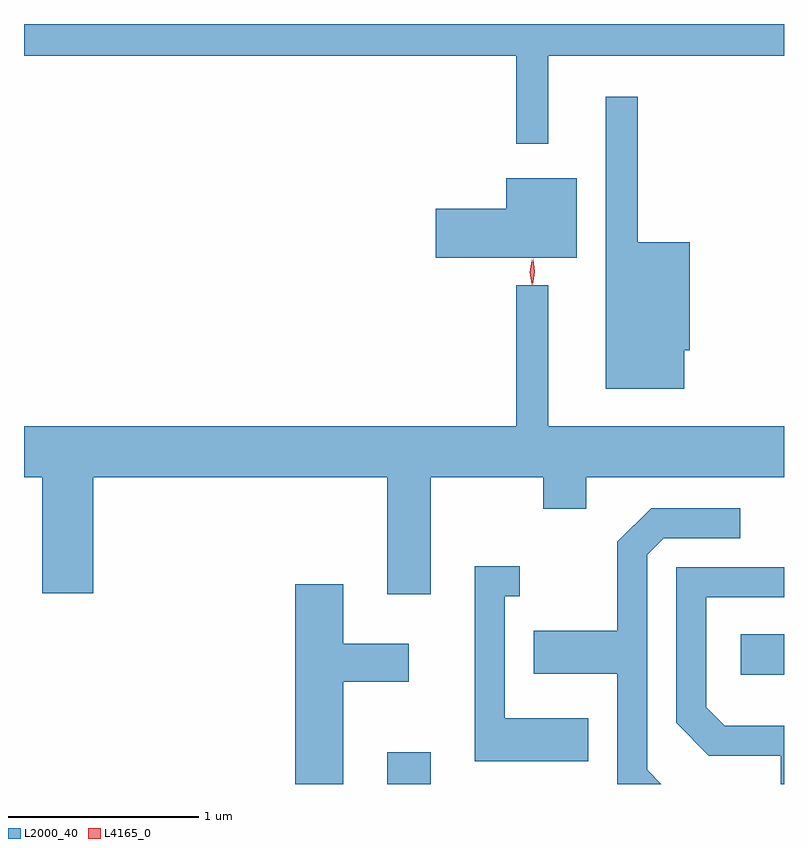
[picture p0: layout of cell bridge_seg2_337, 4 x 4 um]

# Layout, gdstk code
import gdstk
lib = gdstk.Library(unit=1e-6, precision=1e-09)
def R(c, l, rs):  # rectangles x0, y0, x1, y1
    for r in rs: c.add(gdstk.rectangle(r[:2], r[2:], *l))
def P(c, l, *ps):  # polygons
    for p in ps: c.add(gdstk.Polygon(p, *l))
L2000_40 = (2000, 40)
L4165_0 = (4165, 0)

bridge_seg2_337 = lib.new_cell('bridge_seg2_337')
R(bridge_seg2_337, L2000_40, [(296.811,1015.622,297.039,1015.789), (298.671,1016.196,298.899,1016.409)])
P(bridge_seg2_337, L2000_40, [(297.659,1019.456),(298.899,1019.456),(298.899,1019.622),(294.899,1019.622),(294.899,1019.456),(297.491,1019.456),(297.491,1018.993),(297.659,1018.993)],
  [(298.374,1017.906),(298.404,1017.906),(298.404,1018.474),(298.129,1018.474),(298.129,1019.238),(297.961,1019.238),(297.961,1017.701),(298.374,1017.701)],
  [(297.809,1018.809),(297.436,1018.809),(297.436,1018.649),(297.066,1018.649),(297.066,1018.391),(297.809,1018.391)],
  [(297.039,1017.236),(297.631,1017.236),(297.631,1017.071),(297.859,1017.071),(297.859,1017.236),(298.899,1017.236),(298.899,1017.504),(297.659,1017.504),(297.659,1018.248),(297.491,1018.248),(297.491,1017.504),(294.899,1017.504),(294.899,1017.236),(294.996,1017.236),(294.996,1016.626),(295.264,1016.626),(295.264,1017.236),(296.811,1017.236),(296.811,1016.621),(297.039,1016.621)],
  [(298.179,1015.697),(298.179,1016.829),(298.267,1016.916),(298.668,1016.916),(298.668,1017.074),(298.199,1017.074),(298.021,1016.897),(298.021,1016.429),(297.581,1016.429),(297.581,1016.201),(298.021,1016.201),(298.021,1015.622),(298.254,1015.622)],
  [(297.869,1015.969),(297.429,1015.969),(297.429,1016.611),(297.508,1016.611),(297.508,1016.769),(297.271,1016.769),(297.271,1015.741),(297.869,1015.741)],
  [(298.899,1015.929),(298.587,1015.929),(298.489,1016.027),(298.489,1016.606),(298.899,1016.606),(298.899,1016.764),(298.331,1016.764),(298.331,1015.944),(298.504,1015.771),(298.881,1015.771),(298.881,1015.622),(298.899,1015.622)],
  [(296.579,1016.161),(296.924,1016.161),(296.924,1016.359),(296.579,1016.359),(296.579,1016.674),(296.326,1016.674),(296.326,1015.622),(296.579,1015.622)])
P(bridge_seg2_337, L4165_0, [(297.576,1018.25),(297.567,1018.318),(297.578,1018.385),(297.578,1018.386),(297.579,1018.385),(297.588,1018.318),(297.577,1018.25),(297.577,1018.25)],
  [(297.572,1018.253),(297.572,1018.253),(297.562,1018.316),(297.572,1018.379),(297.572,1018.38),(297.572,1018.379),(297.582,1018.316),(297.572,1018.253)])

lib.write_gds('bridge_seg2_337.gds')
